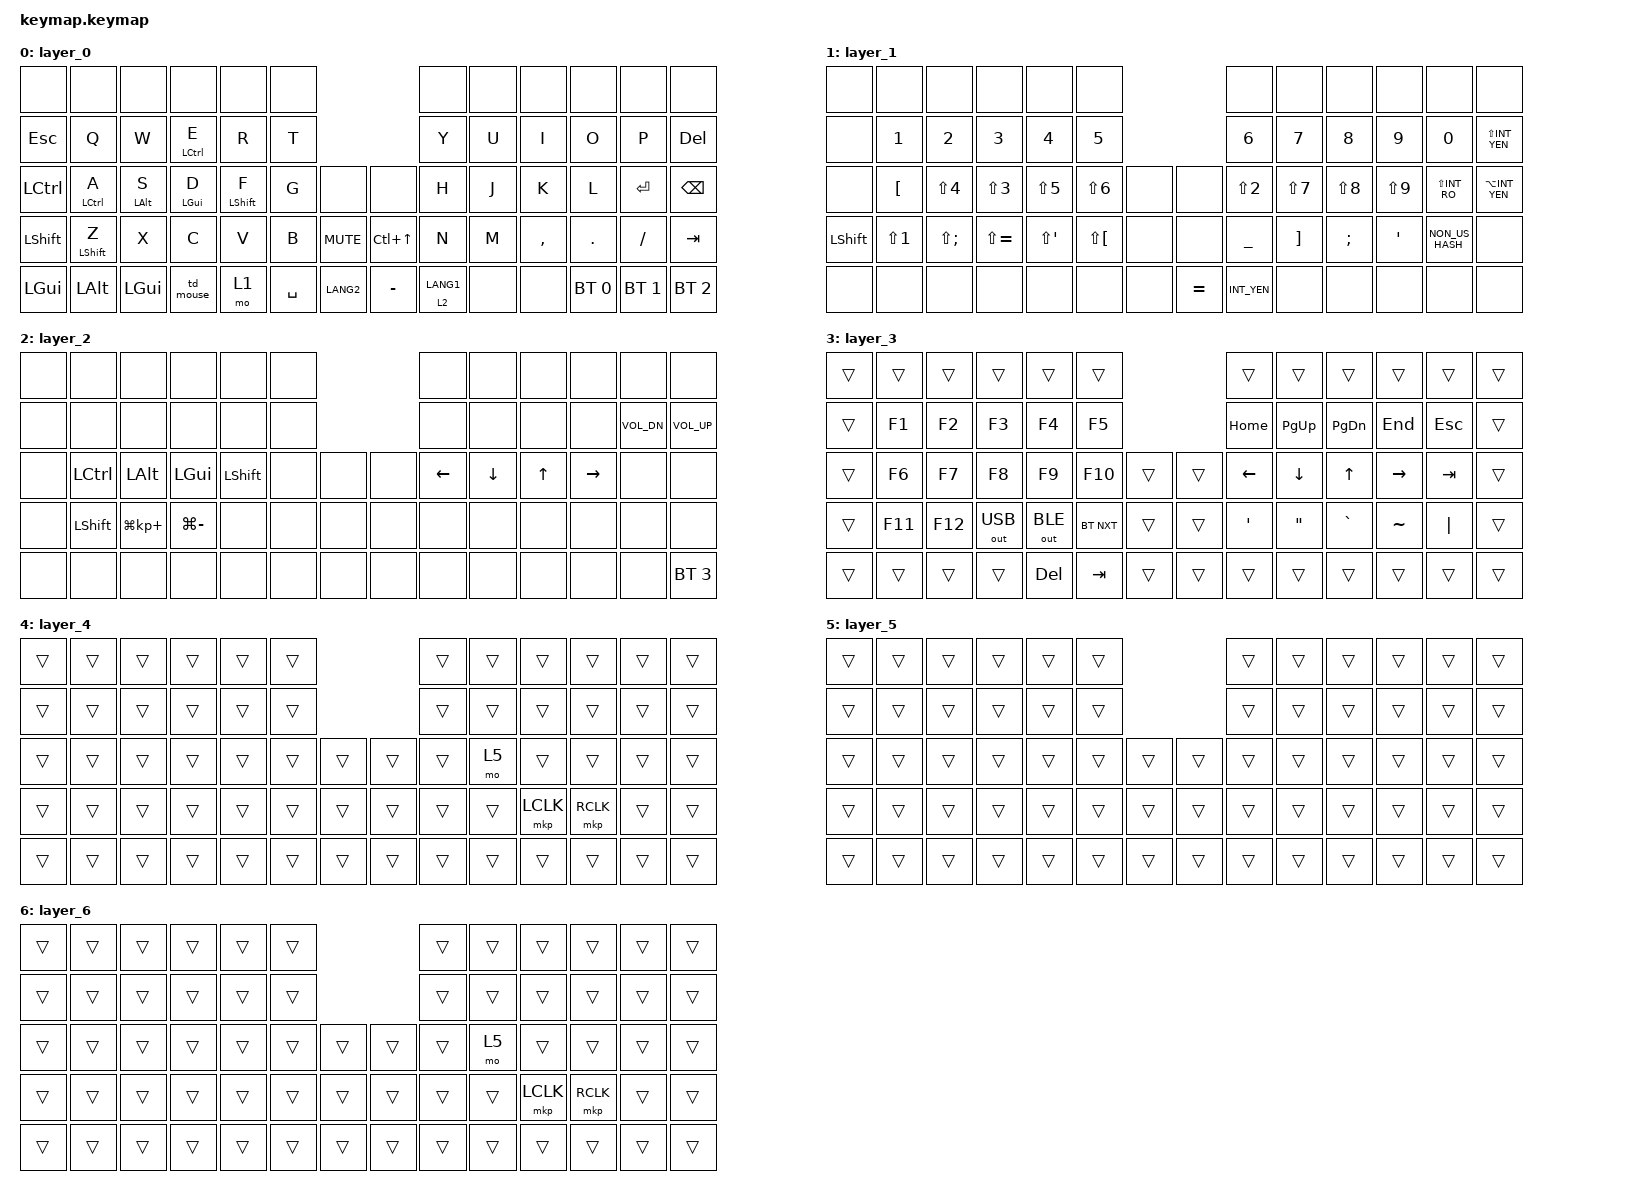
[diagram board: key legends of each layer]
#include <behaviors.dtsi>
#include <dt-bindings/zmk/bt.h>
#include <dt-bindings/zmk/keys.h>
#include <dt-bindings/zmk/outputs.h>
#include <dt-bindings/zmk/pointing.h>

/ {
    behaviors {
        // Home row mods (left hand): hold only with right-hand / thumb keys, never while typing fast

        hml: home_row_mod_left {
            compatible = "zmk,behavior-hold-tap";
            #binding-cells = <2>;
            flavor = "balanced";
            tapping-term-ms = <280>;
            quick-tap-ms = <175>;
            require-prior-idle-ms = <150>;
            bindings = <&kp>, <&kp>;

            hold-trigger-key-positions = <6 7 8 9 10 11 18 19 20 21 22 23 31 32 33 34 35 36 37 45 46 47 48 49 50 51 56 57 58 59 60 61 62 63 64 65>;
            hold-trigger-on-release;
        };

        // Mouse lock: tap once to toggle the locked mouse layer, tap twice to go straight back to layer 0
        td_mouse: tap_dance_mouse {
            compatible = "zmk,behavior-tap-dance";
            #binding-cells = <0>;
            tapping-term-ms = <250>;
            bindings = <&tog 6>, <&to 0>;
        };
    };

    combos {
        compatible = "zmk,combos";

        bt_clear {
            bindings = <&bt BT_CLR>;
            key-positions = <43 44>;
            layers = <2>;
        };

        bt_clear_all {
            bindings = <&bt BT_CLR_ALL>;
            key-positions = <45 46>;
            layers = <2>;
        };

        esc {
            bindings = <&kp ESC>;
            key-positions = <34 35>;
        };
    };

    keymap {
        compatible = "zmk,keymap";

        layer_0 {
            bindings = <
&none      &none              &none            &none            &none              &none                              &none        &none  &none      &none         &none         &none
&kp ESC    &kp Q              &kp W            &hml LCTRL E     &kp R              &kp T                              &kp Y        &kp U  &kp I      &kp O         &kp P         &kp DEL
&kp LCTRL  &hml LCTRL A       &hml LEFT_ALT S  &hml LEFT_GUI D  &hml LEFT_SHIFT F  &kp G      &none       &none       &kp H        &kp J  &kp K      &kp L         &kp ENTER     &kp BACKSPACE
&kp LSHFT  &hml LEFT_SHIFT Z  &kp X            &kp C            &kp V              &kp B      &kp C_MUTE  &kp LC(UP)  &kp N        &kp M  &kp COMMA  &kp DOT       &kp SLASH     &kp TAB
&kp LGUI   &kp LALT           &kp LGUI         &td_mouse        &mo 1              &kp SPACE  &kp LANG2   &kp MINUS   &lt 2 LANG1  &none  &none      &bt BT_SEL 0  &bt BT_SEL 1  &bt BT_SEL 2
            >;
        };

        layer_1 {
            bindings = <
&none      &none         &none         &none          &none         &none                           &none           &none       &none          &none       &none            &none
&none      &kp NUMBER_1  &kp NUMBER_2  &kp NUMBER_3   &kp NUMBER_4  &kp N5                          &kp NUMBER_6    &kp N7      &kp N8         &kp N9      &kp N0           &kp LS(INT_YEN)
&none      &kp LBKT      &kp LS(N4)    &kp LS(N3)     &kp LS(N5)    &kp LS(N6)    &none  &none      &kp LS(N2)      &kp LS(N7)  &kp LS(N8)     &kp LS(N9)  &kp LS(INT_RO)   &kp LA(INT_YEN)
&kp LSHFT  &kp LS(N1)    &kp LS(SEMI)  &kp LS(EQUAL)  &kp LS(SQT)   &kp LS(LBKT)  &none  &none      &kp UNDERSCORE  &kp RBKT    &kp SEMICOLON  &kp SQT     &kp NON_US_HASH  &none
&none      &none         &none         &none          &none         &none         &none  &kp EQUAL  &kp INT_YEN     &none       &none          &none       &none            &none
            >;
        };

        layer_2 {
            bindings = <
&none  &none             &none            &none          &none           &none                &none     &none     &none   &none            &none         &none
&none  &none             &none            &none          &none           &none                &none     &none     &none   &none            &kp C_VOL_DN  &kp C_VOL_UP
&none  &kp LEFT_CONTROL  &kp LEFT_ALT     &kp LEFT_GUI   &kp LEFT_SHIFT  &none  &none  &none  &kp LEFT  &kp DOWN  &kp UP  &kp RIGHT_ARROW  &none         &none
&none  &kp LEFT_SHIFT    &kp LG(KP_PLUS)  &kp LG(MINUS)  &none           &none  &none  &none  &none     &none     &none   &none            &none         &none
&none  &none             &none            &none          &none           &none  &none  &none  &none     &none     &none   &none            &none         &bt BT_SEL 3
            >;
        };

        layer_3 {
            bindings = <
&trans  &trans   &trans   &trans        &trans        &trans                      &trans            &trans     &trans         &trans     &trans      &trans
&trans  &kp F1   &kp F2   &kp F3        &kp F4        &kp F5                      &kp HOME          &kp PG_UP  &kp PAGE_DOWN  &kp END    &kp ESCAPE  &trans
&trans  &kp F6   &kp F7   &kp F8        &kp F9        &kp F10     &trans  &trans  &kp LEFT          &kp DOWN   &kp UP_ARROW   &kp RIGHT  &kp TAB     &trans
&trans  &kp F11  &kp F12  &out OUT_USB  &out OUT_BLE  &bt BT_NXT  &trans  &trans  &kp SINGLE_QUOTE  &kp DQT    &kp GRAVE      &kp TILDE  &kp PIPE    &trans
&trans  &trans   &trans   &trans        &kp DELETE    &kp TAB     &trans  &trans  &trans            &trans     &trans         &trans     &trans      &trans
            >;
        };

        layer_4 {
            bindings = <
&trans  &trans  &trans  &trans  &trans  &trans                  &trans  &trans  &trans     &trans     &trans  &trans
&trans  &trans  &trans  &trans  &trans  &trans                  &trans  &trans  &trans     &trans     &trans  &trans
&trans  &trans  &trans  &trans  &trans  &trans  &trans  &trans  &trans  &mo 5   &trans     &trans     &trans  &trans
&trans  &trans  &trans  &trans  &trans  &trans  &trans  &trans  &trans  &trans  &mkp LCLK  &mkp RCLK  &trans  &trans
&trans  &trans  &trans  &trans  &trans  &trans  &trans  &trans  &trans  &trans  &trans     &trans     &trans  &trans
            >;
        };

        layer_5 {
            bindings = <
&trans  &trans  &trans  &trans  &trans  &trans                  &trans  &trans  &trans  &trans  &trans  &trans
&trans  &trans  &trans  &trans  &trans  &trans                  &trans  &trans  &trans  &trans  &trans  &trans
&trans  &trans  &trans  &trans  &trans  &trans  &trans  &trans  &trans  &trans  &trans  &trans  &trans  &trans
&trans  &trans  &trans  &trans  &trans  &trans  &trans  &trans  &trans  &trans  &trans  &trans  &trans  &trans
&trans  &trans  &trans  &trans  &trans  &trans  &trans  &trans  &trans  &trans  &trans  &trans  &trans  &trans
            >;
        };

        layer_6 {
            bindings = <
&trans  &trans  &trans  &trans  &trans  &trans                  &trans  &trans  &trans     &trans     &trans  &trans
&trans  &trans  &trans  &trans  &trans  &trans                  &trans  &trans  &trans     &trans     &trans  &trans
&trans  &trans  &trans  &trans  &trans  &trans  &trans  &trans  &trans  &mo 5   &trans     &trans     &trans  &trans
&trans  &trans  &trans  &trans  &trans  &trans  &trans  &trans  &trans  &trans  &mkp LCLK  &mkp RCLK  &trans  &trans
&trans  &trans  &trans  &trans  &trans  &trans  &trans  &trans  &trans  &trans  &trans     &trans     &trans  &trans
            >;
        };
    };
};
